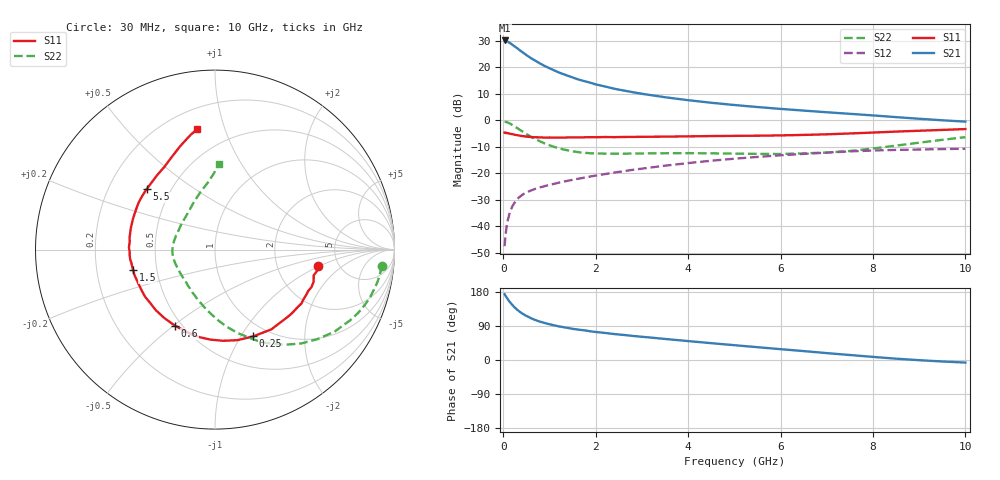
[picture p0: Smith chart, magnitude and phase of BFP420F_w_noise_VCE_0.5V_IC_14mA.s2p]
! Infineon Technologies  Discrete & RF Semiconductors
! BFP420F
! VCE =  0.5 V,  IC =  14 mA
! Common Emitter S-Parameters:  Sep 2011
# GHz  S  MA  R  50
!  f  S11  S21  S12  S22
! GHz  MAG  ANG  MAG  ANG  MAG  ANG  MAG  ANG
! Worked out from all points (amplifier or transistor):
!   54 points, 30 MHz to 10 GHz, reference 50 ohm
!   highest |S21| = 30.0 dB at 30 MHz (marker M1)
!   |S21| within 3 dB of that: start of sweep to 307.5 MHz
!   unconditionally stable (mu >= 1): 1.699 GHz to end of sweep
!   at 120 MHz: K = 0.22, MSG = 32.8 dB, |S12| = -36.3 dB
!   at 1.3 GHz: K = 0.88, MSG = 20.3 dB, |S12| = -23.2 dB
!   at 10 GHz: K = 1.23, MAG = 2.2 dB, |S12| = -10.8 dB
!   lowest NFmin = 1.34 dB at 450 MHz
!   S11 on the Smith chart (normalised r, x): 30 MHz: 3.48, -0.98; 250 MHz: 0.85, -1.13; 600 MHz: 0.46, -0.51; 1.5 GHz: 0.37, -0.11; 5.5 GHz: 0.37, +0.33; 10 GHz: 0.33, +0.81
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0.03  0.5817 -9.2  31.73 173.6  0.0042 87.0  0.9327 -5.5
0.05  0.5683 -14.6  31.22 169.3  0.0067 84.3  0.9273 -9.4
0.07  0.5767 -21.2  31.04 166.0  0.0094 81.4  0.916 -13.3
0.12  0.5603 -35.3  29.41 156.6  0.0153 76.5  0.8811 -22.0
0.15  0.5519 -42.8  28.17 151.9  0.0189 73.1  0.8527 -27.2
0.2  0.544 -54.8  26.31 144.9  0.0239 68.8  0.8073 -34.6
0.25  0.5284 -66.2  24.37 138.5  0.028 65.4  0.7566 -41.3
0.3  0.5198 -76.2  22.73 132.9  0.0322 62.1  0.709 -47.6
0.4  0.5021 -93.0  19.49 123.6  0.0382 57.6  0.6218 -57.8
0.5  0.4878 -106.4  16.89 116.4  0.0432 54.4  0.5472 -66.5
0.6  0.4794 -117.6  14.74 110.3  0.0471 52.4  0.4851 -74.3
0.7  0.4744 -126.8  13.08 105.3  0.0508 51.2  0.4371 -81.0
0.9  0.4677 -140.8  10.45 97.5  0.057 50.0  0.3619 -93.0
1.2  0.4668 -155.5  7.933 88.8  0.0659 49.9  0.2954 -108.9
1.5  0.4701 -166.0  6.376 82.2  0.0748 50.1  0.2577 -122.6
1.7  0.4718 -171.1  5.592 79.1  0.0806 50.2  0.2435 -131.1
2.4  0.477 174.8  3.912 68.5  0.1025 49.8  0.233 -152.6
3.5  0.4881 159.5  2.698 55.6  0.1382 46.7  0.2372 -170.7
5.5  0.5082 138.5  1.763 33.8  0.2022 35.4  0.2308 160.7
7  0.5395 121.7  1.406 18.2  0.2439 25.0  0.2445 132.4
8.5  0.6074 108.7  1.138 3.5  0.2741 13.6  0.3303 104.2
10  0.6779 98.5  0.935 -6.8  0.2889 5.1  0.4767 87.5
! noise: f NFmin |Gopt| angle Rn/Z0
0.45  1.34  0.08  173  0.11
0.9  1.34  0.09  161  0.13
1.9  1.47  0.19  177  0.19
2.4  1.53  0.19  -180  0.12
3.5  1.78  0.24  -164  0.17
